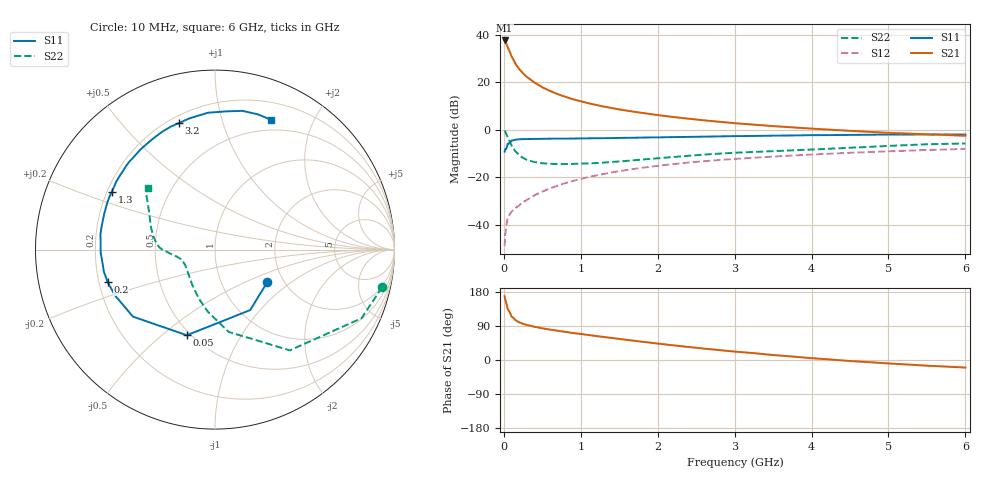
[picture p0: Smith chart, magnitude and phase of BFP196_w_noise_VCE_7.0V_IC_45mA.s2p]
! (c) 2017  Infineon Technologies AG, Munich
! Infineon Technologies  Discrete & RF Semiconductors
! BFP196
! VCE =  7.0 V,  IC =  45 mA
! Common Emitter S-Parameters:  Jan 2017
# GHz  S  MA  R  50
!  f  S11  S21  S12  S22
! GHz  MAG  ANG  MAG  ANG  MAG  ANG  MAG  ANG
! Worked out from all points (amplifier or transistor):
!   77 points, 10 MHz to 6 GHz, reference 50 ohm
!   highest |S21| = 37.6 dB at 10 MHz (marker M1)
!   |S21| within 3 dB of that: start of sweep to 52.89 MHz
!   unconditionally stable (mu >= 1): 616.9 MHz to 2.389 GHz
!   at 130 MHz: K = 0.58, MSG = 31.4 dB, |S12| = -33.6 dB
!   at 2.2 GHz: K = 1.01, MAG = 9.3 dB, |S12| = -14.6 dB
!   at 6 GHz: K = 0.94, MSG = 2.8 dB, |S12| = -8.1 dB
!   lowest NFmin = 1.39 dB at 450 MHz
!   S11 on the Smith chart (normalised r, x): 10 MHz: 1.64, -0.68; 50 MHz: 0.48, -0.61; 200 MHz: 0.24, -0.14; 1.3 GHz: 0.22, +0.25; 3.2 GHz: 0.24, +0.72; 6 GHz: 0.38, +1.45
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0.01  0.3431 -32.2  75.51 168.3  0.0035 81.6  0.9544 -12.7
0.02  0.3898 -59.8  72.61 157.9  0.0065 78.2  0.9015 -25.1
0.05  0.5022 -108.2  54.74 134.3  0.0138 57.0  0.6992 -53.4
0.1  0.5901 -140.7  34.88 114.7  0.0187 53.5  0.4652 -80.5
0.15  0.6122 -155.1  24.63 105.3  0.0222 52.6  0.349 -96.5
0.2  0.625 -163.1  18.91 99.5  0.0252 56.0  0.289 -107.9
0.25  0.6313 -168.9  15.29 95.3  0.0296 57.2  0.253 -116.4
0.3  0.631 -172.7  12.81 92.4  0.033 59.4  0.2309 -123.8
0.4  0.6376 -178.9  9.71 87.4  0.0414 62.8  0.2067 -133.9
0.5  0.6384 176.4  7.789 83.6  0.0492 64.4  0.1954 -141.7
0.6  0.6441 172.3  6.525 80.2  0.058 64.6  0.1907 -147.5
0.7  0.6444 169.0  5.597 77.3  0.0658 65.8  0.1872 -151.8
0.9  0.6482 162.4  4.358 71.3  0.083 64.6  0.1895 -157.9
1.1  0.6546 156.4  3.596 66.0  0.1004 63.6  0.1943 -162.5
1.3  0.6592 150.7  3.055 60.8  0.1164 61.7  0.2023 -165.8
1.6  0.6709 142.5  2.506 53.1  0.1411 58.2  0.2191 -170.1
2.1  0.6895 129.4  1.933 41.1  0.1796 51.9  0.2565 -175.8
3.1  0.73 107.9  1.327 20.6  0.2466 38.9  0.3302 173.3
3.2  0.7328 106.1  1.29 18.9  0.2524 37.6  0.3352 171.9
4.1  0.7643 91.4  1.026 3.4  0.3033 26.9  0.3866 158.3
5.1  0.7877 77.5  0.843 -10.2  0.3533 15.3  0.4605 144.7
6  0.7881 66.6  0.741 -20.0  0.3918 5.2  0.5106 137.4
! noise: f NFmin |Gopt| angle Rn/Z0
0.45  1.39  0.37  -180  0.06
0.9  1.55  0.46  -166  0.07
1.9  2.36  0.68  -133  0.3
2.4  2.76  0.7  -120  0.65
